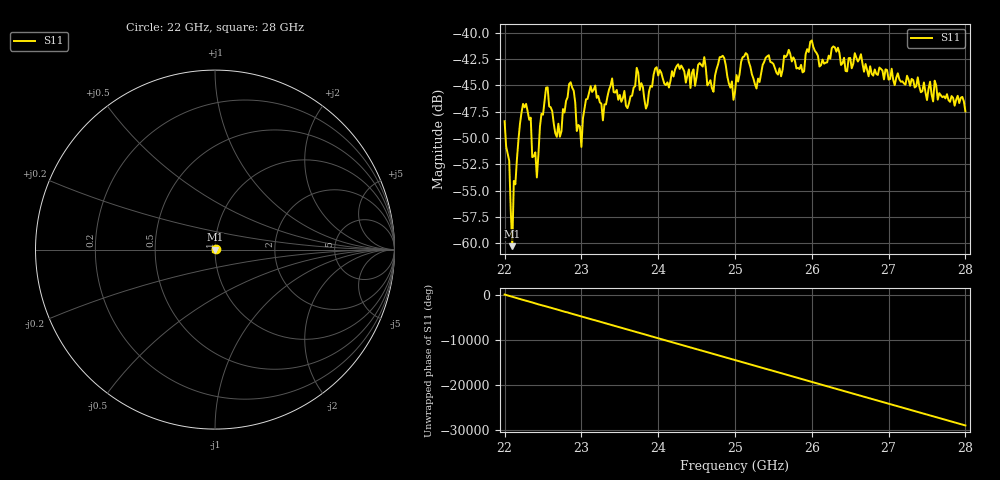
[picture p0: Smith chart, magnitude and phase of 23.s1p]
#  HZ  S  RI  R  50.00
! Rohde & Schwarz ZVA40 4Ports - Version 3.90 - 1145.1110k42 SN: 100403
! Date: 2023-10-04 07:17:59
! Measurement: S12
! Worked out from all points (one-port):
!   301 points, 22 GHz to 28 GHz, reference 50 ohm
!   lowest |S11| = -60.3 dB at 22.1 GHz (marker M1), VSWR 1.00, Z = 49.9 - j0.0637 ohm
!   |S11| at or under -10 dB: start of sweep to end of sweep
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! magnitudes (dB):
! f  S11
! 22 GHz  -48.4
! 22.06 GHz  -52.2
! 22.1 GHz  -60.3
! 22.12 GHz  -54.1
! 22.24 GHz  -46.8
! 22.42 GHz  -53.7
! 22.54 GHz  -45.2
! 22.68 GHz  -49.9
! 22.76 GHz  -47.2
! 22.86 GHz  -44.7
! 23 GHz  -50.8
! 23.12 GHz  -45.1
! 23.28 GHz  -48.3
! 23.4 GHz  -44.3
! 23.5 GHz  -45.9
! 23.72 GHz  -43.3
! 23.84 GHz  -47.2
! 24.26 GHz  -43.0
! 24.6 GHz  -42.3
! 24.72 GHz  -45.6
! 24.84 GHz  -42.2
! 25 GHz  -45.6
! 25.14 GHz  -41.9
! 25.28 GHz  -45.3
! 25.76 GHz  -42.3
! 26.5 GHz  -42.4
! 27.26 GHz  -44.5
! 28 GHz  -47.5
